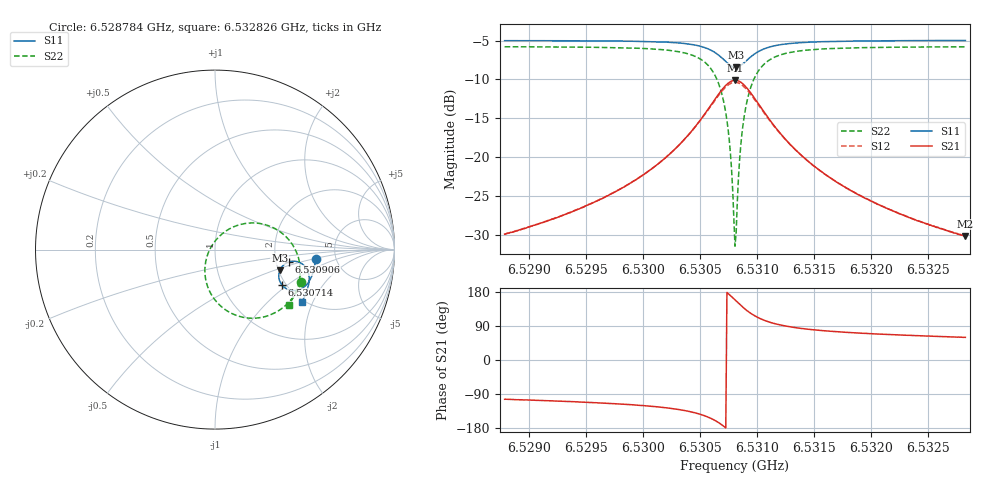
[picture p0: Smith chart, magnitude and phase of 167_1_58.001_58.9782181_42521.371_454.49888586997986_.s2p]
#  HZ  S  RI  R  50.00
! Rohde & Schwarz Vector Network Analyzer
! Rohde-Schwarz,ZNB20-2Port,1311601062101988,3.16
! Created: UTC 3/21/2024, 12:57:46 AM
! freq[Hz]  re:S11  im:S11  re:S21  im:S21  re:S12  im:S12  re:S22  im:S22
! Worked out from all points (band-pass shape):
!   401 points, 6.528784 GHz to 6.532826 GHz, reference 50 ohm
!   highest |S21| = -10.10 dB at 6.530805 GHz (marker M1); lowest = -30.2 dB at 6.532826 GHz (marker M2)
!   |S21| within 3 dB of the highest: 6.530604 GHz to 6.531009 GHz (405 kHz wide, 0.0062 % of centre)
!   lowest |S11| = -8.4 dB at 6.530815 GHz (marker M3), VSWR 2.22, Z = 102 - j27.5 ohm
!   |S11| at or under -10 dB: nowhere
!   |S22| runs from -31.5 to -5.8 dB; largest |S21 - S12| = 0.013
!   S11 on the Smith chart (normalised r, x): 6.528784 GHz: 3.49, -0.52; 6.530714 GHz: 1.90, -0.90; 6.530906 GHz: 2.36, -0.39; 6.532826 GHz: 1.94, -1.66
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6.5287843e9  0.5604 -0.0513  -0.00748 -0.0309  -0.00803 -0.0307  0.4814 -0.181
6.5294614e9  0.5512 -0.1084  -0.017 -0.0439  -0.018 -0.0436  0.4492 -0.2439
6.5298454e9  0.5401 -0.1447  -0.0295 -0.0579  -0.0312 -0.0571  0.4152 -0.2892
6.5301384e9  0.524 -0.177  -0.0512 -0.0754  -0.0534 -0.0742  0.3657 -0.3329
6.5303708e9  0.4971 -0.2075  -0.0915 -0.0954  -0.0946 -0.0921  0.2833 -0.3723
6.5305426e9  0.4533 -0.2275  -0.161 -0.1021  -0.1633 -0.0953  0.1549 -0.3769
6.5306437e9  0.4076 -0.2227  -0.2318 -0.0755  -0.2309 -0.0655  0.0362 -0.3185
6.5307144e9  0.3716 -0.1952  -0.284 -0.0162  -0.2782 -0.00563  -0.0403 -0.2084
6.5307548e9  0.3579 -0.1671  -0.3004 0.0377  -0.2912 0.0463  -0.0566 -0.1159
6.5307953e9  0.3564 -0.133  -0.2958 0.0992  -0.2846 0.1041  -0.0368 -0.016
6.5308054e9  0.3583 -0.1244  -0.2908 0.1143  -0.2794 0.1183  -0.0255 0.00771
6.5308155e9  0.361 -0.1159  -0.2845 0.1289  -0.2729 0.1318  -0.012 0.0302
6.5308256e9  0.3646 -0.1081  -0.2766 0.1427  -0.2653 0.1445  0.00334 0.0512
6.5308559e9  0.3801 -0.0876  -0.2462 0.1779  -0.236 0.177  0.0596 0.1027
6.5308761e9  0.3928 -0.0775  -0.2223 0.1949  -0.2132 0.1929  0.102 0.1263
6.5309064e9  0.4134 -0.068  -0.1848 0.2108  -0.1778 0.2077  0.167 0.1453
6.5309772e9  0.4573 -0.067  -0.1083 0.2134  -0.1043 0.2101  0.2957 0.1339
6.5310782e9  0.4961 -0.0885  -0.0419 0.1819  -0.0401 0.1801  0.4024 0.0647
6.5312298e9  0.5188 -0.1247  -0.00185 0.1348  -0.000473 0.1341  0.4607 -0.0323
6.5314824e9  0.5251 -0.1684  0.0153 0.088  0.0165 0.0878  0.475 -0.131
6.5321595e9  0.5085 -0.2397  0.0178 0.0424  0.0185 0.0421  0.446 -0.2479
6.5328264e9  0.4839 -0.2909  0.0156 0.0267  0.0161 0.0264  0.4113 -0.3079
